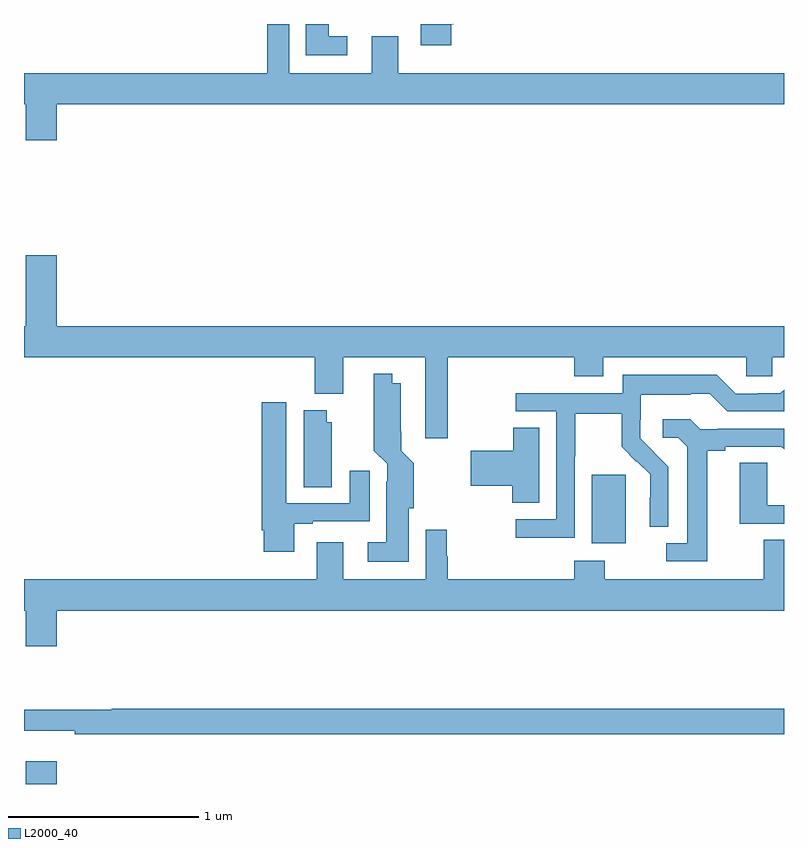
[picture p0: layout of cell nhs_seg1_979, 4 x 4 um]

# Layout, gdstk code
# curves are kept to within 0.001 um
import gdstk
lib = gdstk.Library(unit=1e-6, precision=1e-09)
def R(c, l, rs):  # rectangles x0, y0, x1, y1
    for r in rs: c.add(gdstk.rectangle(r[:2], r[2:], *l))
def P(c, l, *ps):  # polygons
    for p in ps: c.add(gdstk.Polygon(p, *l))
L2000_40 = (2000, 40)

nhs_seg1_979 = lib.new_cell('nhs_seg1_979')
R(nhs_seg1_979, L2000_40, [(165.008,504.199,165.172,504.319), (167.987,505.466,168.166,505.827)])
P(nhs_seg1_979, L2000_40, [(165.172,507.776),(169,507.776),(169,507.94),(166.969,507.94),(166.969,508.135),(166.829,508.135),(166.829,507.94),(166.395,507.94),(166.395,508.199),(166.279,508.199),(166.279,507.94),(165,507.94),(165,507.776),(165.008,507.776),(165.008,507.588),(165.172,507.588)],
  [(166.702,508.135),(166.603,508.135),(166.603,508.199),(166.484,508.199),(166.484,508.034),(166.702,508.034)],
  [(167.248,508.198),(167.261,508.198),(167.261,508.199),(167.087,508.199),(167.087,508.086),(167.248,508.086)],
  [(166.529,506.252),(166.681,506.252),(166.681,506.444),(167.111,506.444),(167.111,506.019),(167.229,506.019),(167.229,506.444),(167.897,506.444),(167.897,506.345),(168.049,506.345),(168.049,506.444),(168.801,506.444),(168.801,506.346),(168.939,506.346),(168.939,506.444),(169,506.444),(169,506.608),(165.172,506.608),(165.172,506.983),(165.008,506.983),(165.008,506.608),(165,506.608),(165,506.444),(166.529,506.444)],
  [(167.026,505.65),(167.052,505.65),(167.052,505.887),(166.985,505.954),(166.984,506.308),(166.939,506.308),(166.939,506.359),(166.842,506.359),(166.841,505.954),(166.911,505.884),(166.911,505.79),(166.907,505.79),(166.907,505.471),(166.809,505.471),(166.809,505.37),(167.026,505.37)],
  [(167.898,505.924),(167.901,505.924),(167.901,506.148),(168.145,506.148),(168.145,505.973),(168.222,505.896),(168.225,505.899),(168.296,505.829),(168.296,505.706),(168.294,505.706),(168.294,505.552),(168.39,505.552),(168.39,505.87),(168.244,506.018),(168.244,506.115),(168.246,506.115),(168.246,506.249),(168.509,506.249),(168.509,506.253),(168.609,506.253),(168.702,506.16),(169,506.16),(169,506.275),(168.981,506.256),(168.863,506.256),(168.863,506.253),(168.747,506.253),(168.647,506.353),(168.15,506.353),(168.15,506.256),(167.589,506.256),(167.589,506.16),(167.802,506.16),(167.802,505.593),(167.589,505.593),(167.589,505.495),(167.898,505.495)],
  [(166.423,505.569),(166.519,505.569),(166.519,505.581),(166.819,505.581),(166.819,505.849),(166.715,505.849),(166.715,505.677),(166.381,505.677),(166.381,506.209),(166.25,506.209),(166.25,505.534),(166.262,505.534),(166.262,505.422),(166.423,505.422)],
  [(166.621,506.103),(166.594,506.103),(166.594,506.167),(166.472,506.167),(166.472,505.762),(166.621,505.762)],
  [(168.595,505.952),(168.691,505.952),(168.691,505.974),(168.986,505.974),(169,505.96),(169,506.07),(168.652,506.07),(168.652,506.067),(168.558,506.067),(168.506,506.119),(168.363,506.119),(168.363,506.022),(168.444,506.022),(168.491,505.975),(168.491,505.467),(168.381,505.467),(168.381,505.371),(168.595,505.371)],
  [(167.713,506.075),(167.575,506.075),(167.575,505.952),(167.352,505.952),(167.352,505.769),(167.57,505.769),(167.57,505.678),(167.713,505.678)],
  [(169,505.665),(168.912,505.665),(168.912,505.889),(168.767,505.889),(168.767,505.569),(169,505.569)],
  [(165.172,505.112),(169,505.112),(169,505.484),(168.893,505.484),(168.893,505.276),(168.057,505.276),(168.057,505.375),(167.897,505.375),(167.897,505.276),(167.231,505.276),(167.231,505.398),(167.224,505.398),(167.224,505.537),(167.115,505.537),(167.115,505.276),(166.681,505.276),(166.681,505.471),(166.541,505.471),(166.541,505.276),(165,505.276),(165,505.112),(165.008,505.112),(165.008,504.924),(165.172,504.924)],
  [(169,504.596),(165.461,504.596),(165.461,504.589),(165,504.589),(165,504.479),(165.268,504.479),(165.268,504.46),(169,504.46)])

lib.write_gds('nhs_seg1_979.gds')
